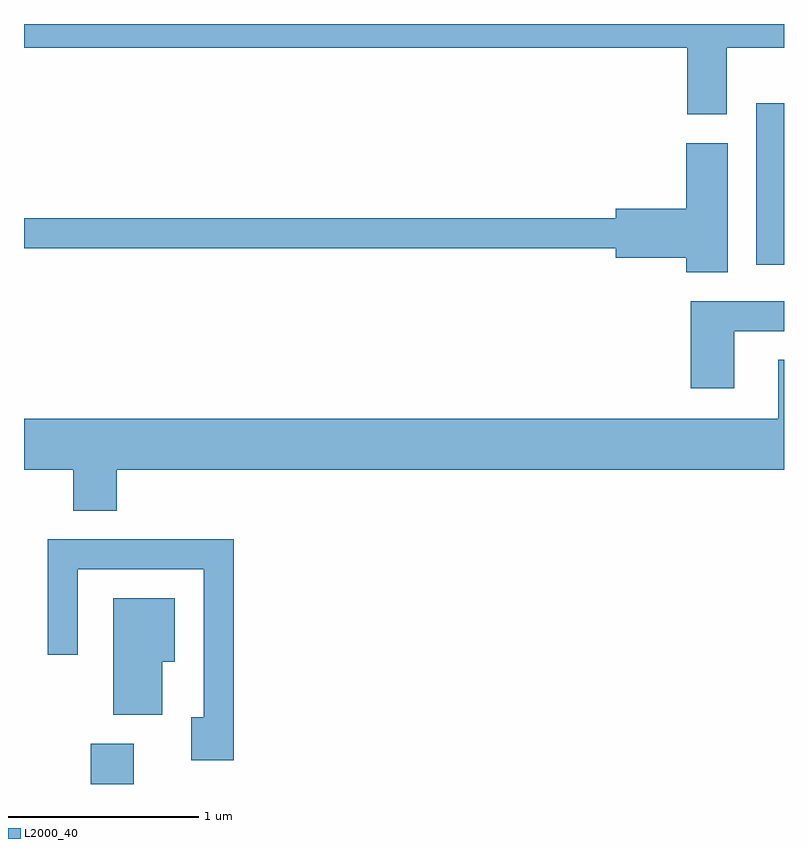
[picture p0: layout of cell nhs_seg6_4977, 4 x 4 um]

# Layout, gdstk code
import gdstk
lib = gdstk.Library(unit=1e-6, precision=1e-09)
def R(c, l, rs):  # rectangles x0, y0, x1, y1
    for r in rs: c.add(gdstk.rectangle(r[:2], r[2:], *l))
def P(c, l, *ps):  # polygons
    for p in ps: c.add(gdstk.Polygon(p, *l))
L2000_40 = (2000, 40)

nhs_seg6_4977 = lib.new_cell('nhs_seg6_4977')
R(nhs_seg6_4977, L2000_40, [(337.961,1546.162,338.189,1546.374), (341.466,1548.896,341.611,1549.744)])
P(nhs_seg6_4977, L2000_40, [(341.309,1550.036),(341.611,1550.036),(341.611,1550.162),(337.611,1550.162),(337.611,1550.036),(341.101,1550.036),(341.101,1549.686),(341.309,1549.686)],
  [(341.314,1549.534),(341.096,1549.534),(341.096,1549.189),(340.726,1549.189),(340.726,1549.139),(337.611,1549.139),(337.611,1548.981),(340.726,1548.981),(340.726,1548.931),(341.096,1548.931),(341.096,1548.856),(341.314,1548.856)],
  [(341.349,1548.546),(341.611,1548.546),(341.611,1548.704),(341.121,1548.704),(341.121,1548.246),(341.349,1548.246)],
  [(338.099,1547.816),(341.611,1547.816),(341.611,1548.394),(341.581,1548.394),(341.581,1548.084),(337.611,1548.084),(337.611,1547.816),(337.871,1547.816),(337.871,1547.601),(338.099,1547.601)],
  [(338.714,1547.449),(337.736,1547.449),(337.736,1546.843),(337.894,1546.843),(337.894,1547.291),(338.556,1547.291),(338.556,1546.514),(338.491,1546.514),(338.491,1546.286),(338.714,1546.286)],
  [(338.339,1546.806),(338.404,1546.806),(338.404,1547.139),(338.081,1547.139),(338.081,1546.526),(338.339,1546.526)])

lib.write_gds('nhs_seg6_4977.gds')
